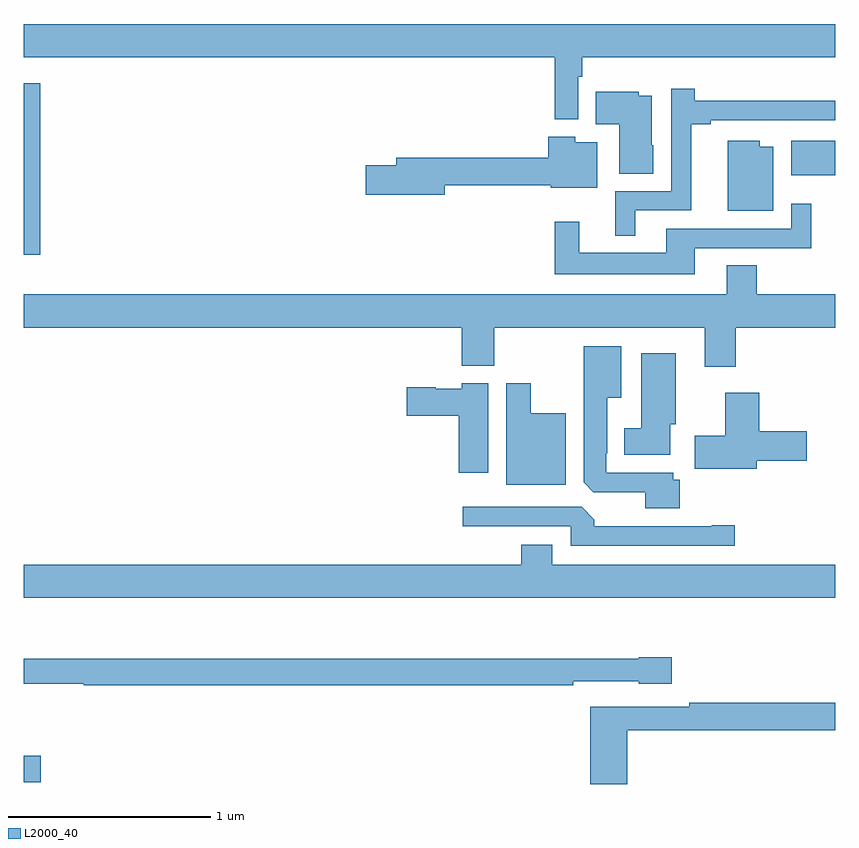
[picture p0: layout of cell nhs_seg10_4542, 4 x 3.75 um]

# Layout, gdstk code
import gdstk
lib = gdstk.Library(unit=1e-6, precision=1e-09)
def R(c, l, rs):  # rectangles x0, y0, x1, y1
    for r in rs: c.add(gdstk.rectangle(r[:2], r[2:], *l))
def P(c, l, *ps):  # polygons
    for p in ps: c.add(gdstk.Polygon(p, *l))
L2000_40 = (2000, 40)

nhs_seg10_4542 = lib.new_cell('nhs_seg10_4542')
R(nhs_seg10_4542, L2000_40, [(369,1316.723,369.085,1316.853), (369,1319.322,369.083,1320.169), (372.782,1319.714,373,1319.884)])
P(nhs_seg10_4542, L2000_40, [(371.733,1320.2),(371.753,1320.2),(371.753,1320.296),(373,1320.296),(373,1320.46),(369,1320.46),(369,1320.296),(371.617,1320.296),(371.617,1319.99),(371.733,1319.99)],
  [(372.013,1319.541),(372.29,1319.541),(372.29,1319.965),(372.385,1319.965),(372.385,1319.985),(373,1319.985),(373,1320.081),(372.938,1320.081),(372.938,1320.083),(372.308,1320.083),(372.308,1320.142),(372.192,1320.142),(372.192,1319.637),(371.915,1319.637),(371.915,1319.417),(372.013,1319.417)],
  [(372.103,1319.862),(372.094,1319.862),(372.094,1320.106),(372.03,1320.106),(372.03,1320.127),(371.818,1320.127),(371.818,1319.966),(371.936,1319.966),(371.936,1319.722),(372.103,1319.722)],
  [(371.074,1319.665),(371.597,1319.665),(371.597,1319.654),(371.827,1319.654),(371.827,1319.878),(371.718,1319.878),(371.718,1319.905),(371.585,1319.905),(371.585,1319.801),(370.835,1319.801),(370.835,1319.765),(370.686,1319.765),(370.686,1319.618),(371.074,1319.618)],
  [(372.694,1319.854),(372.628,1319.854),(372.628,1319.884),(372.47,1319.884),(372.47,1319.54),(372.694,1319.54)],
  [(372.307,1319.355),(372.881,1319.355),(372.881,1319.575),(372.783,1319.575),(372.783,1319.451),(372.167,1319.451),(372.167,1319.332),(371.737,1319.332),(371.737,1319.485),(371.616,1319.485),(371.616,1319.228),(372.307,1319.228)],
  [(372.509,1318.964),(373,1318.964),(373,1319.128),(372.612,1319.128),(372.612,1319.27),(372.464,1319.27),(372.464,1319.128),(369,1319.128),(369,1318.964),(371.159,1318.964),(371.159,1318.775),(371.319,1318.775),(371.319,1318.964),(372.356,1318.964),(372.356,1318.77),(372.509,1318.77)],
  [(372.233,1318.215),(372.202,1318.215),(372.202,1318.248),(371.871,1318.248),(371.871,1318.345),(371.875,1318.345),(371.875,1318.619),(371.944,1318.619),(371.944,1318.873),(371.759,1318.873),(371.759,1318.201),(371.808,1318.152),(372.062,1318.152),(372.062,1318.073),(372.233,1318.073)],
  [(372.187,1318.488),(372.214,1318.488),(372.214,1318.837),(372.044,1318.837),(372.044,1318.468),(371.96,1318.468),(371.96,1318.337),(372.187,1318.337)],
  [(371.29,1318.69),(371.16,1318.69),(371.16,1318.663),(371.03,1318.663),(371.03,1318.671),(370.887,1318.671),(370.887,1318.529),(371.144,1318.529),(371.144,1318.248),(371.29,1318.248)],
  [(371.671,1318.543),(371.5,1318.543),(371.5,1318.69),(371.378,1318.69),(371.378,1318.19),(371.671,1318.19)],
  [(372.613,1318.307),(372.859,1318.307),(372.859,1318.454),(372.626,1318.454),(372.626,1318.642),(372.458,1318.642),(372.458,1318.431),(372.306,1318.431),(372.306,1318.268),(372.613,1318.268)],
  [(372.505,1317.989),(372.392,1317.989),(372.392,1317.984),(371.813,1317.984),(371.813,1318.018),(371.751,1318.08),(371.163,1318.08),(371.163,1317.984),(371.697,1317.984),(371.697,1317.888),(372.505,1317.888)],
  [(373,1317.796),(371.605,1317.796),(371.605,1317.895),(371.453,1317.895),(371.453,1317.796),(369,1317.796),(369,1317.632),(373,1317.632)],
  [(371.708,1317.222),(372.03,1317.222),(372.03,1317.209),(372.193,1317.209),(372.193,1317.339),(372.03,1317.339),(372.03,1317.331),(369,1317.331),(369,1317.21),(369.296,1317.21),(369.296,1317.202),(371.708,1317.202)],
  [(371.975,1316.98),(373,1316.98),(373,1317.116),(372.28,1317.116),(372.28,1317.096),(371.792,1317.096),(371.792,1316.715),(371.975,1316.715)])

lib.write_gds('nhs_seg10_4542.gds')
